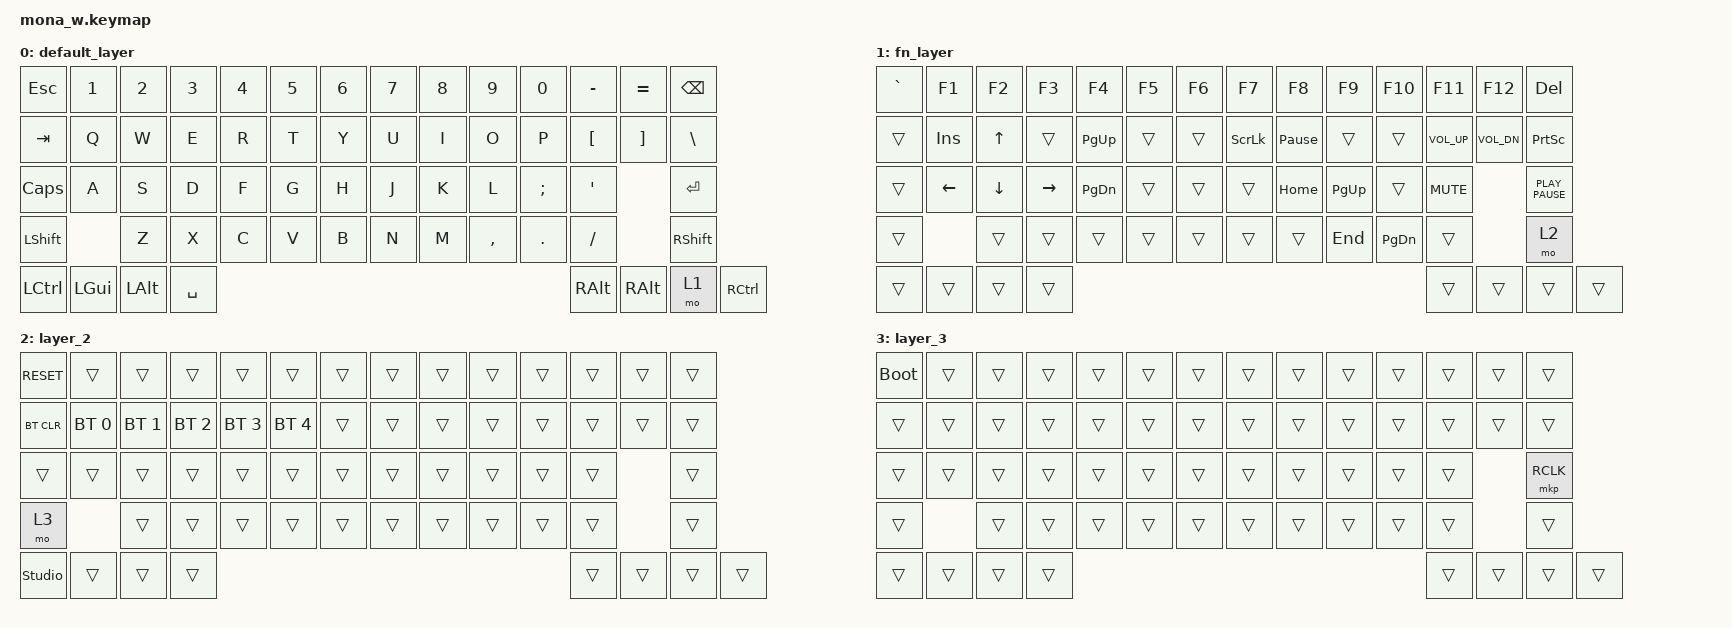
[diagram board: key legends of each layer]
/*
 * Copyright (c) 2023 Ramon Imbao
 *
 * SPDX-License-Identifier: MIT
 */

#include <behaviors.dtsi>
#include <dt-bindings/zmk/bt.h>
#include <dt-bindings/zmk/keys.h>
#include <dt-bindings/zmk/pointing.h>
#include <dt-bindings/zmk/studio.h>

/ {
    keymap {
        compatible = "zmk,keymap";

        default_layer {
            bindings = <
&kp ESC    &kp N1    &kp N2    &kp N3  &kp N4  &kp N5  &kp N6  &kp N7  &kp N8     &kp N9     &kp N0    &kp MINUS  &kp EQUAL  &kp BSPC
&kp TAB    &kp Q     &kp W     &kp E   &kp R   &kp T   &kp Y   &kp U   &kp I      &kp O      &kp P     &kp LBKT   &kp RBKT              &kp BSLH
&kp CAPS   &kp A     &kp S     &kp D   &kp F   &kp G   &kp H   &kp J   &kp K      &kp L      &kp SEMI  &kp APOS              &kp ENTER
&kp LSHFT            &kp Z     &kp X   &kp C   &kp V   &kp B   &kp N   &kp M      &kp COMMA  &kp DOT   &kp SLASH             &kp RSHFT
&kp LCTRL  &kp LGUI  &kp LALT                                          &kp SPACE             &kp RALT  &kp RALT              &mo 1      &kp RCTRL
            >;
        };

        fn_layer {
            bindings = <
&kp GRAVE  &kp F1          &kp F2          &kp F3           &kp F4     &kp F5  &kp F6  &kp F7    &kp F8           &kp F9     &kp F10    &kp F11          &kp F12       &kp DELETE
&trans     &kp INS         &kp UP_ARROW    &trans           &kp PG_UP  &trans  &trans  &kp SLCK  &kp PAUSE_BREAK  &trans     &trans     &kp C_VOLUME_UP  &kp C_VOL_DN                    &kp PRINTSCREEN
&trans     &kp LEFT_ARROW  &kp DOWN_ARROW  &kp RIGHT_ARROW  &kp PG_DN  &trans  &trans  &trans    &kp HOME         &kp PG_UP  &trans     &kp C_MUTE                     &kp K_PLAY_PAUSE
&trans                     &trans          &trans           &trans     &trans  &trans  &trans    &trans           &kp END    &kp PG_DN  &trans                         &mo 2
&trans     &trans          &trans                                                                &trans                      &trans     &trans                         &trans            &trans
            >;
        };

        layer_2 {
            bindings = <
&kp C_RESET     &trans        &trans        &trans        &trans        &trans        &trans  &trans  &trans  &trans  &trans  &trans  &trans  &trans
&bt BT_CLR      &bt BT_SEL 0  &bt BT_SEL 1  &bt BT_SEL 2  &bt BT_SEL 3  &bt BT_SEL 4  &trans  &trans  &trans  &trans  &trans  &trans  &trans          &trans
&trans          &trans        &trans        &trans        &trans        &trans        &trans  &trans  &trans  &trans  &trans  &trans          &trans
&mo 3                         &trans        &trans        &trans        &trans        &trans  &trans  &trans  &trans  &trans  &trans          &trans
&studio_unlock  &trans        &trans                                                                  &trans          &trans  &trans          &trans  &trans
            >;
        };

        layer_3 {
            bindings = <
&bootloader  &trans  &trans  &trans  &trans  &trans  &trans  &trans  &trans  &trans  &trans  &trans  &trans  &trans
&trans       &trans  &trans  &trans  &trans  &trans  &trans  &trans  &trans  &trans  &trans  &trans  &trans             &trans
&trans       &trans  &trans  &trans  &trans  &trans  &trans  &trans  &trans  &trans  &trans  &trans          &mkp RCLK
&trans               &trans  &trans  &trans  &trans  &trans  &trans  &trans  &trans  &trans  &trans          &trans
&trans       &trans  &trans                                          &trans          &trans  &trans          &trans     &trans
            >;
        };
    };
};
